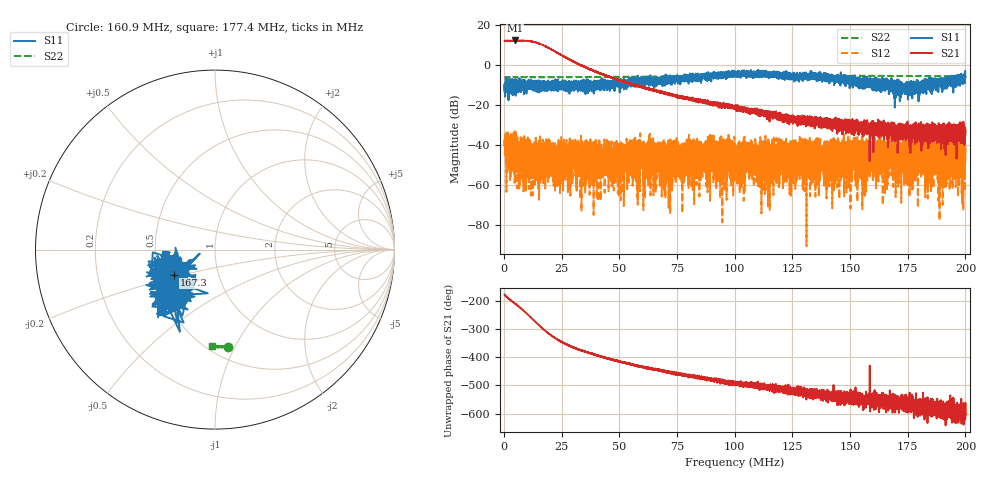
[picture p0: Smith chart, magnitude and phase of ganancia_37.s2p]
# Hz S DB R 50
! CMT, M5065, 19127446, 24.2.4/2
! Date: 10/29/2024 12:35:52 PM
! Data: Format (Calibration Info)
! Freq	S11:dB/Ang(F2)	S21:dB/Ang(F2)	S12:dB/Ang(F2)	S22:dB/Ang(F2)
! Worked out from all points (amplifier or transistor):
!   9000 points, 300 kHz to 200 MHz, reference 50 ohm
!   highest |S21| = 12.4 dB at 4.783 MHz (marker M1)
!   |S21| within 3 dB of that: start of sweep to 18.15 MHz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
!   unconditionally stable (mu >= 1): start of sweep to end of sweep
!   at 33.59 MHz: K = 54.20, MAG = 2.0 dB, |S12| = -44.9 dB
!   at 100.2 MHz: K = 196.19, MAG = -16.3 dB, |S12| = -39.8 dB
!   at 200 MHz: K = 1869.52, MAG = -29.5 dB, |S12| = -44.7 dB
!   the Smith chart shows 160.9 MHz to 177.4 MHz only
!   S11 on the Smith chart (normalised r, x): 160.9 MHz: 0.53, -0.39; 167.3 MHz: 0.61, -0.18; 177.4 MHz: 0.56, -0.03
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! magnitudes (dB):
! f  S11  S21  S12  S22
! 300 kHz  -13.2  12.2  -40.2  -6.0
! 4.783 MHz  -7.3  12.4  -48.2  -5.9
! 15.3 MHz  -11.2  10.9  -44.0  -5.9
! 33.59 MHz  -7.5  -0.1  -44.9  -5.9
! 66.87 MHz  -7.4  -13.3  -40.0  -5.7
! 70.65 MHz  -5.9  -14.4  -47.5  -5.7
! 74.89 MHz  -6.9  -15.5  -46.8  -5.7
! 77.1 MHz  -6.7  -16.1  -51.0  -5.7
! 81.25 MHz  -5.0  -16.9  -48.4  -5.7
! 88.44 MHz  -5.5  -18.6  -40.3  -5.6
! 100.2 MHz  -3.2  -20.6  -39.8  -5.6
! 133.4 MHz  -5.3  -26.7  -39.2  -5.3
! 160.9 MHz  -8.3  -32.7  -50.7  -5.3
! 163.8 MHz  -11.5  -32.7  -43.5  -5.3
! 165.7 MHz  -8.6  -32.8  -46.5  -5.3
! 166.7 MHz  -9.0  -30.9  -41.1  -5.3
! 167.3 MHz  -11.4  -30.0  -41.0  -5.3
! 170.7 MHz  -13.3  -32.5  -37.2  -5.3
! 177.4 MHz  -11.1  -29.9  -49.6  -5.4
! 185.6 MHz  -10.4  -38.2  -41.4  -5.4
! 189.2 MHz  -8.7  -31.0  -39.9  -5.4
! 200 MHz  -6.0  -32.2  -44.7  -5.5
